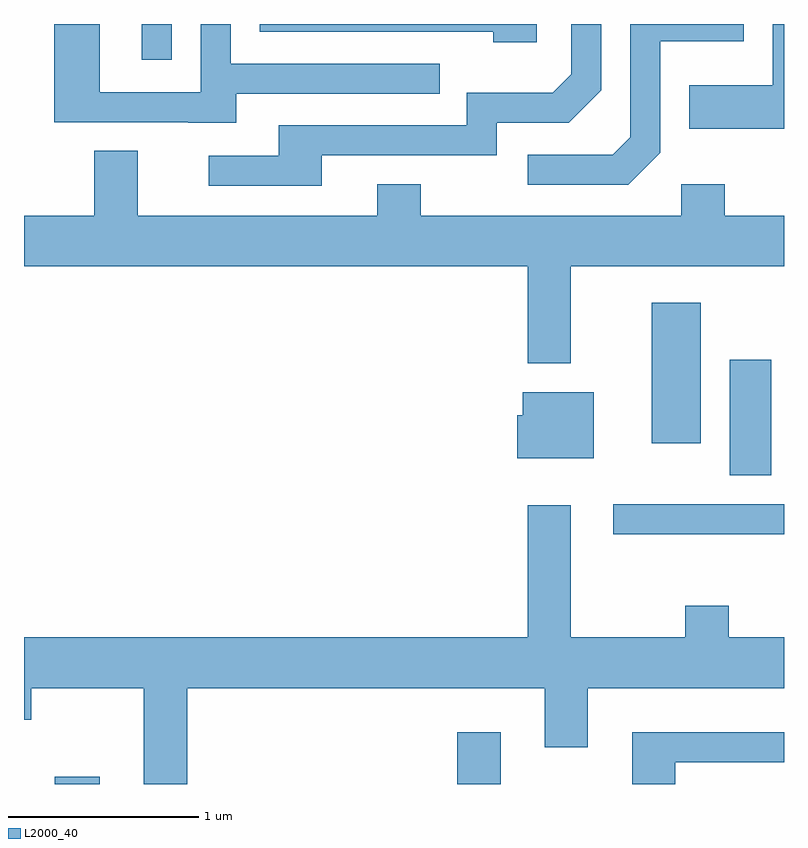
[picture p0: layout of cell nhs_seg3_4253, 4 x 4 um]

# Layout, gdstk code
import gdstk
lib = gdstk.Library(unit=1e-6, precision=1e-09)
def R(c, l, rs):  # rectangles x0, y0, x1, y1
    for r in rs: c.add(gdstk.rectangle(r[:2], r[2:], *l))
def P(c, l, *ps):  # polygons
    for p in ps: c.add(gdstk.Polygon(p, *l))
L2000_40 = (2000, 40)

nhs_seg3_4253 = lib.new_cell('nhs_seg3_4253')
R(nhs_seg3_4253, L2000_40, [(309.773,1189.892,310.009,1189.929), (311.891,1189.892,312.119,1190.164), (312.713,1191.206,313.611,1191.364), (313.326,1191.516,313.544,1192.124), (312.916,1191.686,313.174,1192.424), (310.231,1193.703,310.389,1193.892)])
P(nhs_seg3_4253, L2000_40, [(310.729,1193.526),(311.798,1193.526),(311.798,1193.684),(310.699,1193.684),(310.699,1193.892),(310.541,1193.892),(310.541,1193.534),(310.009,1193.534),(310.009,1193.892),(309.771,1193.892),(309.771,1193.376),(310.475,1193.376),(310.475,1193.371),(310.729,1193.371)],
  [(311.179,1193.201),(312.099,1193.201),(312.099,1193.371),(312.477,1193.371),(312.649,1193.544),(312.649,1193.892),(312.491,1193.892),(312.491,1193.627),(312.394,1193.529),(311.941,1193.529),(311.941,1193.359),(310.951,1193.359),(310.951,1193.199),(310.583,1193.199),(310.583,1193.041),(311.179,1193.041)],
  [(313.611,1193.892),(313.551,1193.892),(313.551,1193.569),(313.111,1193.569),(313.111,1193.341),(313.611,1193.341)],
  [(312.309,1193.892),(310.851,1193.892),(310.851,1193.851),(312.081,1193.851),(312.081,1193.796),(312.309,1193.796)],
  [(312.959,1193.214),(312.959,1193.801),(313.399,1193.801),(313.399,1193.892),(312.801,1193.892),(312.801,1193.297),(312.709,1193.204),(312.263,1193.204),(312.263,1193.046),(312.792,1193.046)],
  [(312.489,1192.616),(313.611,1192.616),(313.611,1192.884),(313.299,1192.884),(313.299,1193.049),(313.071,1193.049),(313.071,1192.884),(311.699,1192.884),(311.699,1193.049),(311.471,1193.049),(311.471,1192.884),(310.209,1192.884),(310.209,1193.224),(309.981,1193.224),(309.981,1192.884),(309.611,1192.884),(309.611,1192.616),(312.261,1192.616),(312.261,1192.106),(312.489,1192.106)],
  [(312.609,1191.954),(312.236,1191.954),(312.236,1191.834),(312.206,1191.834),(312.206,1191.606),(312.609,1191.606)],
  [(310.469,1190.396),(312.351,1190.396),(312.351,1190.086),(312.579,1190.086),(312.579,1190.396),(313.611,1190.396),(313.611,1190.664),(313.319,1190.664),(313.319,1190.829),(313.091,1190.829),(313.091,1190.664),(312.489,1190.664),(312.489,1191.359),(312.261,1191.359),(312.261,1190.664),(309.611,1190.664),(309.611,1190.231),(309.649,1190.231),(309.649,1190.396),(310.241,1190.396),(310.241,1189.892),(310.469,1189.892)],
  [(313.039,1190.006),(313.611,1190.006),(313.611,1190.164),(312.811,1190.164),(312.811,1189.892),(313.039,1189.892)])

lib.write_gds('nhs_seg3_4253.gds')
